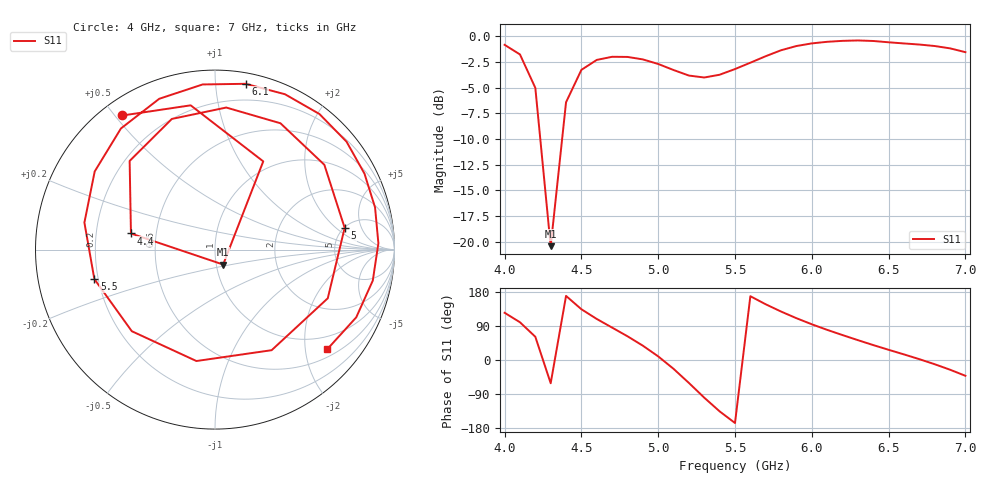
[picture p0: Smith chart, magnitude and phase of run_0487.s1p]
! Touchstone file exported from HFSS 2024.2.0
!  File:  C:/Users/wsak9/Desktop/Sim Fast/Widenad Patch/WP_AI_V1_sweep.aedt
!  Generated:  12:24:53 PM Oct 14, 2026
!  Design:  A1_model
!  Project:  WP_AI_V1_sweep
!  Setup:  Setup1
!  Solution:  Sweep
! Variables:
!  Air_gap = 2.42mm
!  Curve_Amp1 = 2.58
!  Curve_len1 = 1
!  Curve_pos = 12.965mm
!  Extra = 5.12mm
!  H_sub = 0.79mm
!  L_Patch = 21.93mm
!  L_Patch1 = 16.6mm
!  Sx = 4.1mm
!  Sy = 1.64mm
!  WS = 0.68mm
!  W_Patch = 13.25mm
!  W_Patch1 = 11.48mm
!Data is not renormalized
# GHz S MA
! Terminal data exported
! Port[1] = 1
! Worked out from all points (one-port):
!   31 points, 4 GHz to 7 GHz, reference per port
!   lowest |S11| = -20.5 dB at 4.3 GHz (marker M1), VSWR 1.21
!   |S11| at or under -10 dB: 4.232 GHz to 4.375 GHz (142.3 MHz wide, 3.31 % of centre)
!   S11 on the Smith chart (normalised r, x): 4 GHz: 0.06, +0.52; 4.4 GHz: 0.36, +0.08; 5 GHz: 5.05, +2.64; 5.5 GHz: 0.18, -0.12; 6.1 GHz: 0.08, +1.20; 7 GHz: 0.67, -2.47
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4  0.9078 124.6
4.1  0.8152 99.6
4.2  0.5602 61.3
4.3  0.09492 -61.4
4.4  0.4768 169.2
4.5  0.6857 133.9
4.6  0.7667 108.3
4.7  0.794 85.5
4.8  0.7927 62.6
4.9  0.771 37.8
5  0.7325 9.5
5.1  0.6844 -23.4
5.2  0.6432 -60.6
5.3  0.6294 -99.5
5.4  0.6493 -135.6
5.5  0.692 -166.3
5.6  0.743 168.3
5.7  0.7993 147.0
5.8  0.8545 127.8
5.9  0.8959 110.3
6  0.9227 94.3
6.1  0.9393 79.6
6.3  0.9536 52.4
6.5  0.9342 26.9
6.7  0.911 2.2
6.8  0.8959 -11.1
6.9  0.8727 -25.6
7  0.8363 -41.7
